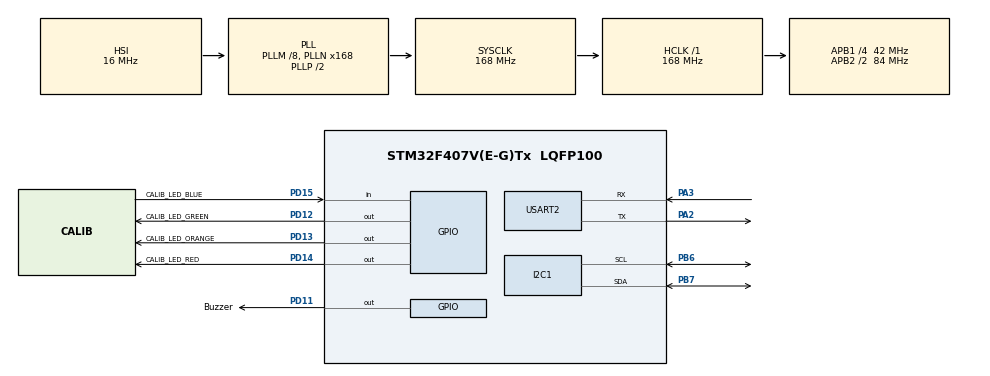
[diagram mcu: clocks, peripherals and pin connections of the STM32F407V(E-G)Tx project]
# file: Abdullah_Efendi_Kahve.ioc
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Mcu.Family=STM32F4
Mcu.Name=STM32F407V(E-G)Tx
Mcu.Package=LQFP100
NVIC.PriorityGroup=NVIC_PRIORITYGROUP_4
PA2.Mode=Asynchronous
PA2.Signal=USART2_TX
PA3.Mode=Asynchronous
PA3.Signal=USART2_RX
PB6.Mode=I2C
PB6.Signal=I2C1_SCL
PB7.Mode=I2C
PB7.Signal=I2C1_SDA
PD11.GPIO_Label=Buzzer
PD11.Signal=GPIO_Output
PD12.GPIO_Label=CALIB_LED_GREEN
PD12.Signal=GPIO_Output
PD13.GPIO_Label=CALIB_LED_ORANGE
PD13.Signal=GPIO_Output
PD14.GPIO_Label=CALIB_LED_RED
PD14.Signal=GPIO_Output
PD15.GPIO_Label=CALIB_LED_BLUE 
PD15.Signal=GPIO_Input
ProjectManager.HeapSize=0x200
ProjectManager.StackSize=0x400
ProjectManager.TargetToolchain=STM32CubeIDE
RCC.48MHZClocksFreq_Value=84000000
RCC.AHBFreq_Value=168000000
RCC.APB1CLKDivider=RCC_HCLK_DIV4
RCC.APB1Freq_Value=42000000
RCC.APB1TimFreq_Value=84000000
RCC.APB2CLKDivider=RCC_HCLK_DIV2
RCC.APB2Freq_Value=84000000
RCC.APB2TimFreq_Value=168000000
RCC.CortexFreq_Value=168000000
RCC.HCLKFreq_Value=168000000
RCC.HSE_VALUE=25000000
RCC.HSI_VALUE=16000000
RCC.LSE_VALUE=32768
RCC.PLLM=8
RCC.PLLN=168
RCC.SYSCLKFreq_VALUE=168000000
RCC.SYSCLKSource=RCC_SYSCLKSOURCE_PLLCLK
RCC.VCOOutputFreq_Value=336000000
USART2.VirtualMode=VM_ASYNC
board=custom

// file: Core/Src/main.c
/* USER CODE BEGIN Header */
/**
  ******************************************************************************
  * @file           : main.c
  * @brief          : Main program body
  ******************************************************************************
  * @attention
  *
  * Copyright (c) 2026 STMicroelectronics.
  * All rights reserved.
  *
  * This software is licensed under terms that can be found in the LICENSE file
  * in the root directory of this software component.
  * If no LICENSE file comes with this software, it is provided AS-IS.
  *
  ******************************************************************************
  */
/* USER CODE END Header */
#include "main.h"

/* USER CODE BEGIN Includes */
#include "M1.0_SensorReaderCore.h"
#include "M2.0_SystemCore.h"
#include "M0.1_FilterConfig.h"
#include "M4.0_Telemetry.h"
#include <stdio.h>
/* USER CODE END Includes */

/* USER CODE BEGIN PTD */
#include "M0.0_DataCenter.h"
DataCenter datacenter;
uint8_t watchDog = 0 ;
uint8_t discovered_i2c_addr = 0;
/* USER CODE END PTD */

I2C_HandleTypeDef hi2c1;

UART_HandleTypeDef huart2;

void SystemClock_Config(void);
static void MX_GPIO_Init(void);
static void MX_I2C1_Init(void);
static void MX_USART2_UART_Init(void);
/* USER CODE BEGIN PFP */
#ifdef __GNUC__
#define PUTCHAR_PROTOTYPE int __io_putchar(int ch)
#else
#define PUTCHAR_PROTOTYPE int fputc(int ch, FILE *f)
#endif
extern UART_HandleTypeDef huart2;

PUTCHAR_PROTOTYPE
{
  HAL_UART_Transmit(&huart2, (uint8_t *)&ch, 1, HAL_MAX_DELAY);
  return ch;
}

/* USER CODE END PFP */

/* USER CODE BEGIN 0 */
#include "M2.3_HardwareFeedback.h"

// 1. Kalibrasyon Hazırlık Durumu (Turuncu LED yanar, Buzzer düz öter)
void Cb_Prep_Enter(void) {
    HAL_GPIO_WritePin(GPIOD, CALIB_LED_ORANGE_Pin, GPIO_PIN_SET);
    HAL_GPIO_WritePin(GPIOD, Buzzer_Pin, GPIO_PIN_SET);
}

// 2. Kalibrasyon Ölçüm Durumu (Kırmızı LED ve Buzzer hızlıca yanıp söner)
void Cb_Measuring_Enter(void) {
    HAL_GPIO_WritePin(GPIOD, CALIB_LED_ORANGE_Pin, GPIO_PIN_RESET); // Turuncuyu kapat
}

void Cb_Measuring_Run(void) {
    static uint32_t last_toggle = 0;
    // 100 milisaniyede bir flaş efekti
    if(HAL_GetTick() - last_toggle >= 100) {
        last_toggle = HAL_GetTick();
        HAL_GPIO_TogglePin(GPIOD, CALIB_LED_RED_Pin);
        HAL_GPIO_TogglePin(GPIOD, Buzzer_Pin);
    }
}

// 3. Kalibrasyon Bitti Durumu (Sadece Yeşil LED yanar, Buzzer tamamen susar)
void Cb_Done_Enter(void) {
    HAL_GPIO_WritePin(GPIOD, CALIB_LED_RED_Pin, GPIO_PIN_RESET);
    HAL_GPIO_WritePin(GPIOD, Buzzer_Pin, GPIO_PIN_RESET);
    HAL_GPIO_WritePin(GPIOD, CALIB_LED_GREEN_Pin, GPIO_PIN_SET);
}
/* USER CODE END 0 */

int main(void)
{

  /* MCU Configuration--------------------------------------------------------*/

  /* Reset of all peripherals, Initializes the Flash interface and the Systick. */
  HAL_Init();

  /* Configure the system clock */
  SystemClock_Config();

  /* Initialize all configured peripherals */
  MX_GPIO_Init();
  MX_I2C1_Init();
  MX_USART2_UART_Init();
  /* USER CODE BEGIN 2 */

  // 0. Hardware Feedback (LED/Buzzer) Kurulumu ve Animasyon Kayıtları
  M2_3_HardwareFeedback_Init();
  M2_3_HardwareFeedback_RegisterCallback(FEEDBACK_CALIB_PREP, Cb_Prep_Enter, NULL);
  M2_3_HardwareFeedback_RegisterCallback(FEEDBACK_CALIB_MEASURING, Cb_Measuring_Enter, Cb_Measuring_Run);
  M2_3_HardwareFeedback_RegisterCallback(FEEDBACK_CALIB_DONE, Cb_Done_Enter, NULL);

  // 1. Sensörlerin donanımsal kurulumlarını ve sıfırlamalarını yap
  SensorReaderCore_Init(&hi2c1, &datacenter);

  // 2. Sistemin çalışacağı ana modun kurulumunu yap
  SystemCore_Init(&datacenter);

  // 3. Telemetri Modülünü Başlat
  Telemetry_Init();

  /* USER CODE END 2 */

  /* Infinite loop */
  while (1)
  {

    /* USER CODE BEGIN 3 */

	  uint32_t current_time = HAL_GetTick();

	  // Sensörlerden verileri okuyoruz (Raw Value)
	  SensorReaderCore_Update(&datacenter, current_time);

      // Sistem döngüsünü işlet (Kalibrasyon veya Uçuş moduna göre)
      SystemCore_Run(&datacenter);

      // LED ve Buzzer
      M2_3_HardwareFeedback_Run();

      // M4.0 Telemetri verilerini Yer İstasyonuna gönder (1Hz)
      Telemetry_Run(&datacenter);

  }
  /* USER CODE END 3 */
}

void SystemClock_Config(void)
{
  RCC_OscInitTypeDef RCC_OscInitStruct = {0};
  RCC_ClkInitTypeDef RCC_ClkInitStruct = {0};

  /** Configure the main internal regulator output voltage
  */
  __HAL_RCC_PWR_CLK_ENABLE();
  __HAL_PWR_VOLTAGESCALING_CONFIG(PWR_REGULATOR_VOLTAGE_SCALE1);

  /** Initializes the RCC Oscillators according to the specified parameters
  * in the RCC_OscInitTypeDef structure.
  */
  RCC_OscInitStruct.OscillatorType = RCC_OSCILLATORTYPE_HSI;
  RCC_OscInitStruct.HSIState = RCC_HSI_ON;
  RCC_OscInitStruct.HSICalibrationValue = RCC_HSICALIBRATION_DEFAULT;
  RCC_OscInitStruct.PLL.PLLState = RCC_PLL_ON;
  RCC_OscInitStruct.PLL.PLLSource = RCC_PLLSOURCE_HSI;
  RCC_OscInitStruct.PLL.PLLM = 8;
  RCC_OscInitStruct.PLL.PLLN = 168;
  RCC_OscInitStruct.PLL.PLLP = RCC_PLLP_DIV2;
  RCC_OscInitStruct.PLL.PLLQ = 4;
  if (HAL_RCC_OscConfig(&RCC_OscInitStruct) != HAL_OK)
  {
    Error_Handler();
  }

  /** Initializes the CPU, AHB and APB buses clocks
  */
  RCC_ClkInitStruct.ClockType = RCC_CLOCKTYPE_HCLK|RCC_CLOCKTYPE_SYSCLK
                              |RCC_CLOCKTYPE_PCLK1|RCC_CLOCKTYPE_PCLK2;
  RCC_ClkInitStruct.SYSCLKSource = RCC_SYSCLKSOURCE_PLLCLK;
  RCC_ClkInitStruct.AHBCLKDivider = RCC_SYSCLK_DIV1;
  RCC_ClkInitStruct.APB1CLKDivider = RCC_HCLK_DIV4;
  RCC_ClkInitStruct.APB2CLKDivider = RCC_HCLK_DIV2;

  if (HAL_RCC_ClockConfig(&RCC_ClkInitStruct, FLASH_LATENCY_5) != HAL_OK)
  {
    Error_Handler();
  }
}

static void MX_I2C1_Init(void)
{

  hi2c1.Instance = I2C1;
  hi2c1.Init.ClockSpeed = 100000;
  hi2c1.Init.DutyCycle = I2C_DUTYCYCLE_2;
  hi2c1.Init.OwnAddress1 = 0;
  hi2c1.Init.AddressingMode = I2C_ADDRESSINGMODE_7BIT;
  hi2c1.Init.DualAddressMode = I2C_DUALADDRESS_DISABLE;
  hi2c1.Init.OwnAddress2 = 0;
  hi2c1.Init.GeneralCallMode = I2C_GENERALCALL_DISABLE;
  hi2c1.Init.NoStretchMode = I2C_NOSTRETCH_DISABLE;
  if (HAL_I2C_Init(&hi2c1) != HAL_OK)
  {
    Error_Handler();
  }

}

static void MX_USART2_UART_Init(void)
{

  huart2.Instance = USART2;
  huart2.Init.BaudRate = 115200;
  huart2.Init.WordLength = UART_WORDLENGTH_8B;
  huart2.Init.StopBits = UART_STOPBITS_1;
  huart2.Init.Parity = UART_PARITY_NONE;
  huart2.Init.Mode = UART_MODE_TX_RX;
  huart2.Init.HwFlowCtl = UART_HWCONTROL_NONE;
  huart2.Init.OverSampling = UART_OVERSAMPLING_16;
  if (HAL_UART_Init(&huart2) != HAL_OK)
  {
    Error_Handler();
  }

}

static void MX_GPIO_Init(void)
{
  GPIO_InitTypeDef GPIO_InitStruct = {0};

  /* GPIO Ports Clock Enable */
  __HAL_RCC_GPIOA_CLK_ENABLE();
  __HAL_RCC_GPIOD_CLK_ENABLE();
  __HAL_RCC_GPIOB_CLK_ENABLE();

  /*Configure GPIO pin Output Level */
  HAL_GPIO_WritePin(GPIOD, Buzzer_Pin|CALIB_LED_GREEN_Pin|CALIB_LED_ORANGE_Pin|CALIB_LED_RED_Pin, GPIO_PIN_RESET);

  /*Configure GPIO pins : Buzzer_Pin CALIB_LED_GREEN_Pin CALIB_LED_ORANGE_Pin CALIB_LED_RED_Pin */
  GPIO_InitStruct.Pin = Buzzer_Pin|CALIB_LED_GREEN_Pin|CALIB_LED_ORANGE_Pin|CALIB_LED_RED_Pin;
  GPIO_InitStruct.Mode = GPIO_MODE_OUTPUT_PP;
  GPIO_InitStruct.Pull = GPIO_NOPULL;
  GPIO_InitStruct.Speed = GPIO_SPEED_FREQ_LOW;
  HAL_GPIO_Init(GPIOD, &GPIO_InitStruct);

  /*Configure GPIO pin : CALIB_LED_BLUE_Pin */
  GPIO_InitStruct.Pin = CALIB_LED_BLUE_Pin;
  GPIO_InitStruct.Mode = GPIO_MODE_INPUT;
  GPIO_InitStruct.Pull = GPIO_NOPULL;
  HAL_GPIO_Init(CALIB_LED_BLUE_GPIO_Port, &GPIO_InitStruct);

}

void Error_Handler(void)
{
  __disable_irq();
  while (1)
  {
  }
}
